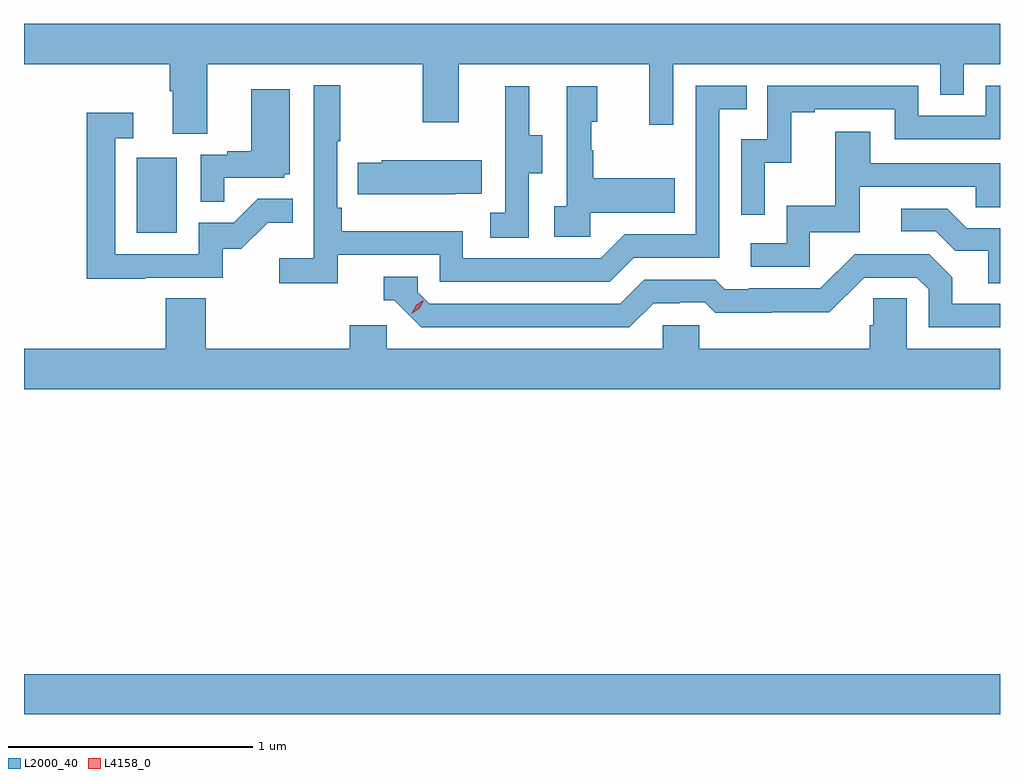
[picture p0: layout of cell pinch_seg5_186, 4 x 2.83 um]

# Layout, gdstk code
import gdstk
lib = gdstk.Library(unit=1e-6, precision=1e-09)
def R(c, l, rs):  # rectangles x0, y0, x1, y1
    for r in rs: c.add(gdstk.rectangle(r[:2], r[2:], *l))
def P(c, l, *ps):  # polygons
    for p in ps: c.add(gdstk.Polygon(p, *l))
L2000_40 = (2000, 40)
L4158_0 = (4158, 0)

pinch_seg5_186 = lib.new_cell('pinch_seg5_186')
R(pinch_seg5_186, L2000_40, [(1115.017,886.064,1119.017,886.228), (1115.48,888.036,1115.644,888.343)])
P(pinch_seg5_186, L2000_40, [(1115.767,888.728),(1116.652,888.728),(1116.652,888.489),(1116.799,888.489),(1116.799,888.728),(1117.58,888.728),(1117.58,888.48),(1117.677,888.48),(1117.677,888.728),(1118.772,888.728),(1118.772,888.601),(1118.868,888.601),(1118.868,888.728),(1119.017,888.728),(1119.017,888.892),(1115.017,888.892),(1115.017,888.728),(1115.615,888.728),(1115.615,888.616),(1115.627,888.616),(1115.627,888.442),(1115.767,888.442)],
  [(1116.302,887.946),(1116.72,887.946),(1116.72,887.835),(1117.417,887.835),(1117.516,887.934),(1117.866,887.934),(1117.866,888.543),(1117.979,888.543),(1117.979,888.639),(1117.77,888.639),(1117.77,888.03),(1117.479,888.03),(1117.38,887.931),(1116.816,887.931),(1116.816,888.043),(1116.32,888.043),(1116.32,888.139),(1116.3,888.139),(1116.3,888.412),(1116.313,888.412),(1116.313,888.64),(1116.204,888.64),(1116.204,887.932),(1116.063,887.932),(1116.063,887.83),(1116.302,887.83)],
  [(1118.052,888.323),(1118.162,888.323),(1118.162,888.531),(1118.257,888.531),(1118.257,888.543),(1118.586,888.543),(1118.586,888.42),(1119.017,888.42),(1119.017,888.639),(1118.958,888.639),(1118.958,888.516),(1118.682,888.516),(1118.682,888.639),(1118.064,888.639),(1118.064,888.42),(1117.956,888.42),(1117.956,888.111),(1118.052,888.111)],
  [(1117.338,888.119),(1117.685,888.119),(1117.685,888.259),(1117.351,888.259),(1117.351,888.374),(1117.341,888.374),(1117.341,888.492),(1117.366,888.492),(1117.366,888.637),(1117.242,888.637),(1117.242,888.146),(1117.191,888.146),(1117.191,888.021),(1117.338,888.021)],
  [(1117.086,888.28),(1117.141,888.28),(1117.141,888.435),(1117.087,888.435),(1117.087,888.637),(1116.989,888.637),(1116.989,888.423),(1116.99,888.423),(1116.99,888.119),(1116.927,888.119),(1116.927,888.016),(1117.086,888.016)],
  [(1115.837,888.261),(1116.084,888.261),(1116.084,888.276),(1116.106,888.276),(1116.106,888.625),(1115.948,888.625),(1115.948,888.37),(1115.849,888.37),(1115.849,888.357),(1115.742,888.357),(1115.742,888.163),(1115.837,888.163)],
  [(1115.513,887.853),(1115.832,887.853),(1115.832,887.97),(1115.908,887.97),(1116.015,888.077),(1116.119,888.077),(1116.119,888.176),(1115.975,888.176),(1115.877,888.078),(1115.733,888.078),(1115.733,887.949),(1115.391,887.949),(1115.391,888.423),(1115.464,888.423),(1115.464,888.529),(1115.275,888.529),(1115.275,887.848),(1115.513,887.848)],
  [(1118.238,888.039),(1118.443,888.039),(1118.443,888.225),(1118.917,888.225),(1118.917,888.141),(1119.017,888.141),(1119.017,888.321),(1118.485,888.321),(1118.485,888.451),(1118.341,888.451),(1118.341,888.148),(1118.142,888.148),(1118.142,887.994),(1117.995,887.994),(1117.995,887.898),(1118.238,887.898)],
  [(1116.785,888.197),(1116.893,888.197),(1116.893,888.334),(1116.483,888.334),(1116.483,888.324),(1116.385,888.324),(1116.385,888.194),(1116.785,888.194)],
  [(1119.017,888.054),(1118.881,888.054),(1118.8,888.135),(1118.613,888.135),(1118.613,888.042),(1118.754,888.042),(1118.834,887.962),(1118.969,887.962),(1118.969,887.83),(1119.017,887.83)],
  [(1117.597,887.748),(1117.704,887.748),(1117.704,887.751),(1117.807,887.751),(1117.849,887.709),(1118.082,887.709),(1118.082,887.711),(1118.318,887.711),(1118.46,887.853),(1118.676,887.853),(1118.724,887.805),(1118.724,887.649),(1119.017,887.649),(1119.017,887.745),(1118.821,887.745),(1118.821,887.855),(1118.727,887.949),(1118.421,887.949),(1118.28,887.808),(1117.987,887.808),(1117.987,887.805),(1117.888,887.805),(1117.849,887.844),(1117.56,887.844),(1117.461,887.745),(1116.678,887.745),(1116.63,887.793),(1116.63,887.856),(1116.491,887.856),(1116.491,887.76),(1116.534,887.76),(1116.645,887.649),(1117.498,887.649)],
  [(1119.017,887.56),(1118.634,887.56),(1118.634,887.768),(1118.497,887.768),(1118.497,887.658),(1118.483,887.658),(1118.483,887.56),(1117.785,887.56),(1117.785,887.658),(1117.635,887.658),(1117.635,887.56),(1116.504,887.56),(1116.504,887.658),(1116.353,887.658),(1116.353,887.56),(1115.762,887.56),(1115.762,887.768),(1115.597,887.768),(1115.597,887.56),(1115.017,887.56),(1115.017,887.396),(1119.017,887.396)])
P(pinch_seg5_186, L4158_0, [(1116.607,887.706),(1116.607,887.707),(1116.624,887.739),(1116.654,887.759),(1116.654,887.759),(1116.654,887.758),(1116.638,887.726),(1116.608,887.706)])

lib.write_gds('pinch_seg5_186.gds')
